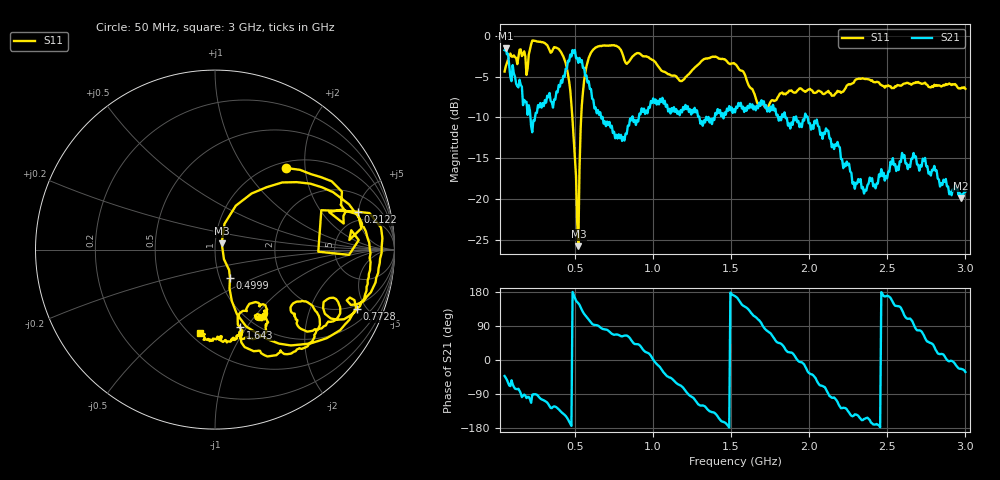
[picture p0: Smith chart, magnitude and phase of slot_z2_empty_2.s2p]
! nanovna_capture.py 2026-10-26T21:24:41+0900
! NanoVNA-F_V2 fw 0.6.0 SN 4A3639384505514B
! cal: load open short thru cal'ed  over 50000000-3000000000 Hz, 201 points
! points 401, avg 4
! slot line on >=20 mm feet, empty (no carrier)
# HZ S RI R 50
! S12 and S22 are not measured (written as 0)
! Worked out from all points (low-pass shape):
!   401 points, 50 MHz to 3 GHz, reference 50 ohm
!   highest |S21| = -1.53 dB at 57.38 MHz (marker M1); lowest = -19.8 dB at 2.97 GHz (marker M2)
!   |S21| within 3 dB of the highest: start of sweep to 84.09 MHz; 437.3 MHz to 563.3 MHz (126 MHz wide, 25.2 % of centre) (the widest 2 of 3)
!   lowest |S11| = -25.7 dB at 522 MHz (marker M3), VSWR 1.11, Z = 53.8 + j3.83 ohm
!   |S11| at or under -10 dB: 483.6 MHz to 540.3 MHz (56.68 MHz wide, 11.1 % of centre)
!   S12 and S22 are empty: the file has one direction only
!   S11 on the Smith chart (normalised r, x): 50 MHz: 1.11, +1.60; 212.2 MHz: 3.74, +4.95; 499.9 MHz: 1.12, -0.36; 772.8 MHz: 1.73, -4.32; 1.643 GHz: 0.85, -0.93; 3 GHz: 0.56, -0.67
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5e7  0.3972 0.4548  0.603 -0.5488  0 0  0 0
5.7375e7  0.4743 0.4441  0.5725 -0.6124  0 0  0 0
1.75375e8  0.8008 0.0527  -0.00829 -0.405  0 0  0 0
2.1225e8  0.7984 0.2106  -0.0785 -0.3376  0 0  0 0
2.93375e8  0.8943 -0.1829  -0.1006 -0.3739  0 0  0 0
4.26125e8  0.5309 -0.5231  -0.4466 -0.3508  0 0  0 0
4.99875e8  0.0833 -0.1566  -0.7844 0.2309  0 0  0 0
5.22e8  0.0375 0.0355  -0.59 0.3432  0 0  0 0
5.44125e8  0.204 0.3126  -0.4794 0.5225  0 0  0 0
6.2525e8  0.8219 0.139  -0.0159 0.3588  0 0  0 0
7.7275e8  0.7908 -0.3312  0.0911 0.2166  0 0  0 0
1.03825e9  0.4694 -0.4348  0.3652 -0.1053  0 0  0 0
1.222625e9  0.4975 -0.2887  0.00805 -0.3705  0 0  0 0
1.525e9  0.3142 -0.5921  -0.333 0.0671  0 0  0 0
1.643e9  0.1399 -0.4337  -0.1616 0.315  0 0  0 0
1.842125e9  0.2786 -0.3437  0.2873 0.181  0 0  0 0
2.019125e9  0.2442 -0.3927  0.2221 -0.1751  0 0  0 0
2.351e9  0.237 -0.4907  -0.0988 -0.0447  0 0  0 0
2.51325e9  0.1359 -0.4722  -0.1439 0.0338  0 0  0 0
2.668125e9  0.097 -0.5042  -0.015 0.1911  0 0  0 0
2.9705e9  -0.0564 -0.4719  0.0938 -0.04  0 0  0 0
3e9  -0.0846 -0.4659  0.0947 -0.0584  0 0  0 0
